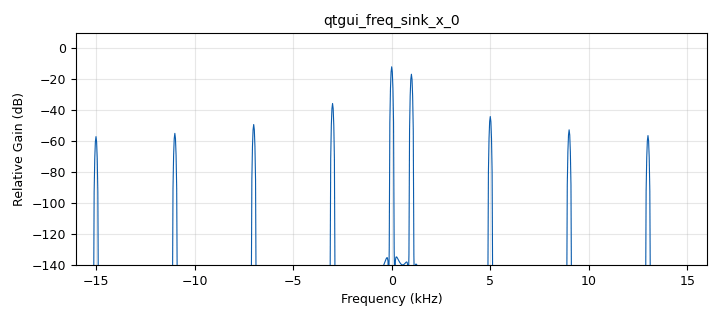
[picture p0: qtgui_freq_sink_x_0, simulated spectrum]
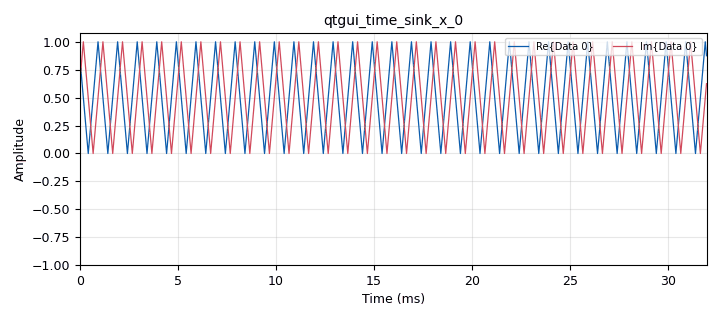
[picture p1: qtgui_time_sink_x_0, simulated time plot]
options:
  parameters:
    generate_options: qt_gui
    id: Practica_1_A
    output_language: python
    title: Practica_1_A
  states: {}

blocks:
- name: amplitude
  id: variable_qtgui_range
  parameters:
    gui_hint: tab_source@0:1,0
    label: Amplitude
    start: '0'
    step: '100e-3'
    stop: '5'
    value: '1'
  states: {}
- name: f_offset
  id: variable_qtgui_range
  parameters:
    gui_hint: tab_channel@0:2,0
    label: Frequency offset in Hz
    start: '0'
    step: '0.1'
    stop: 1e3
    value: '0'
  states: {}
- name: frequency
  id: variable_qtgui_range
  parameters:
    gui_hint: tab_source@0:2,0
    label: Frequency in Hz
    start: '0'
    step: '100'
    stop: 1e4
    value: 1e3
  states: {}
- name: noise
  id: variable_qtgui_range
  parameters:
    gui_hint: tab_channel@0:1,0
    label: Noise Voltage
    start: '0'
    step: '0.01'
    stop: '5'
    value: '0'
  states: {}
- name: offset
  id: variable_qtgui_range
  parameters:
    gui_hint: tab_source@0:1,1
    label: Offset
    start: '-5'
    step: '100e-3'
    stop: '5'
    value: '0'
  states: {}
- name: samp_rate
  id: variable
  parameters:
    value: '32000'
  states: {}
- name: waveform
  id: variable_qtgui_chooser
  parameters:
    label: Waveform
    labels: '["Constant", "Sine", "Cosine","Square","Triangle","Saw Tooth"]'
    num_opts: '0'
    options: '[100, 101, 102, 103, 104, 105]'
    type: raw
    value: '102'
  states: {}
- name: analog_sig_source_x_0
  id: analog_sig_source_x
  parameters:
    amp: amplitude
    freq: frequency
    offset: offset
    phase: '0'
    samp_rate: samp_rate
    type: complex
    waveform: analog.GR_TRI_WAVE
  states: {}
- name: blocks_throttle2_0
  id: blocks_throttle2
  parameters:
    samples_per_second: samp_rate
    type: complex
  states: {}
- name: channels_channel_model_0
  id: channels_channel_model
  parameters:
    epsilon: '1.0'
    freq_offset: f_offset
    noise_voltage: noise
    seed: '0'
    taps: '1.0'
  states: {}
- name: qtgui_freq_sink_x_0
  id: qtgui_freq_sink_x
  parameters:
    bw: samp_rate
    fc: '0'
    fftsize: '1024'
    type: complex
  states: {}
- name: qtgui_time_sink_x_0
  id: qtgui_time_sink_x
  parameters:
    size: '1024'
    srate: samp_rate
    type: complex
  states: {}
- name: tab_channel
  id: qtgui_tab_widget
  parameters:
    gui_hint: 0,2,3,1
    label0: Channel Controls
    num_tabs: '1'
  states: {}
- name: tab_source
  id: qtgui_tab_widget
  parameters:
    gui_hint: 0,0,3,2
    label0: Source Controls
    num_tabs: '1'
  states: {}

connections:
- [analog_sig_source_x_0, '0', channels_channel_model_0, '0']
- [blocks_throttle2_0, '0', qtgui_freq_sink_x_0, '0']
- [blocks_throttle2_0, '0', qtgui_time_sink_x_0, '0']
- [channels_channel_model_0, '0', blocks_throttle2_0, '0']

metadata:
  file_format: 1
  grc_version: 3.10.10.0
